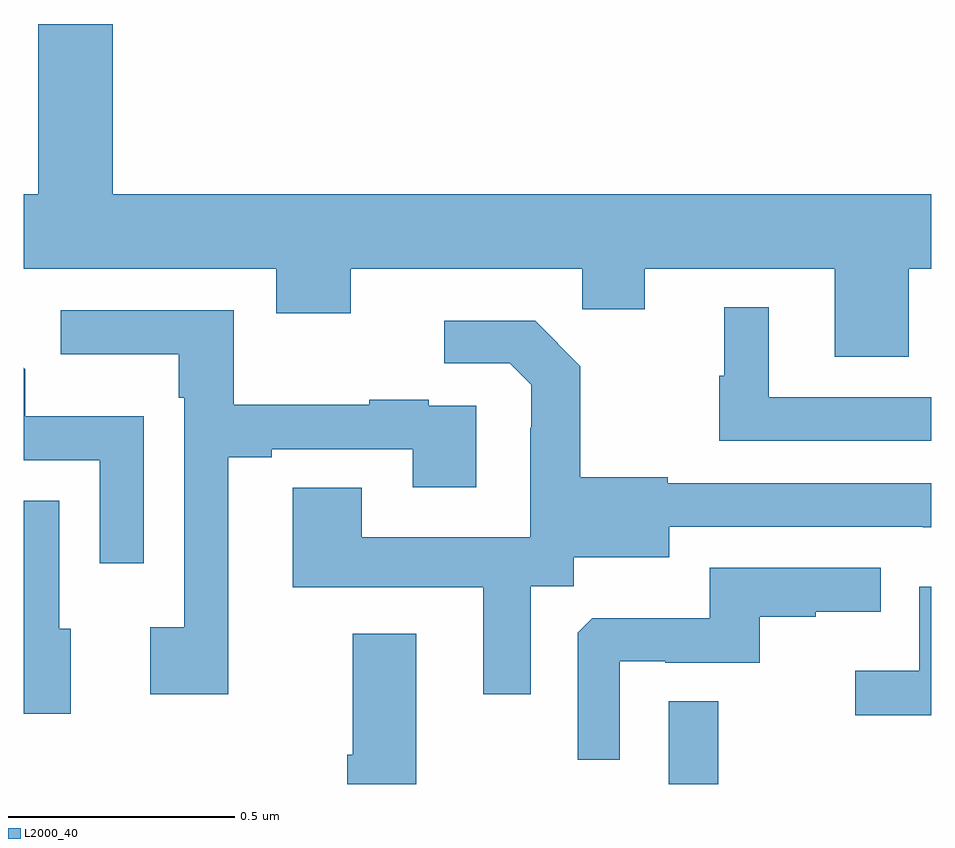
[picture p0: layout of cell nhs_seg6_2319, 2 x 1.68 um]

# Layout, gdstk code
import gdstk
lib = gdstk.Library(unit=1e-6, precision=1e-09)
def R(c, l, rs):  # rectangles x0, y0, x1, y1
    for r in rs: c.add(gdstk.rectangle(r[:2], r[2:], *l))
def P(c, l, *ps):  # polygons
    for p in ps: c.add(gdstk.Polygon(p, *l))
L2000_40 = (2000, 40)

nhs_seg6_2319 = lib.new_cell('nhs_seg6_2319')
R(nhs_seg6_2319, L2000_40, [(142.422,979.5,142.531,979.682)])
P(nhs_seg6_2319, L2000_40, [(142.951,980.636),(143,980.636),(143,980.8),(141.196,980.8),(141.196,981.175),(141.032,981.175),(141.032,980.8),(141,980.8),(141,980.636),(141.557,980.636),(141.557,980.537),(141.721,980.537),(141.721,980.636),(142.231,980.636),(142.231,980.546),(142.369,980.546),(142.369,980.636),(142.787,980.636),(142.787,980.442),(142.951,980.442)],
  [(143,980.352),(142.642,980.352),(142.642,980.551),(142.544,980.551),(142.544,980.4),(142.533,980.4),(142.533,980.256),(143,980.256)],
  [(141.451,980.22),(141.547,980.22),(141.547,980.238),(141.857,980.238),(141.857,980.154),(141.997,980.154),(141.997,980.334),(141.893,980.334),(141.893,980.347),(141.761,980.347),(141.761,980.336),(141.463,980.336),(141.463,980.544),(141.081,980.544),(141.081,980.447),(141.342,980.447),(141.342,980.351),(141.354,980.351),(141.354,979.846),(141.279,979.846),(141.279,979.698),(141.451,979.698)],
  [(142.117,979.936),(142.212,979.936),(142.212,980),(142.423,980),(142.423,980.067),(142.981,980.067),(142.981,980.066),(143,980.066),(143,980.163),(142.419,980.163),(142.419,980.176),(142.227,980.176),(142.227,980.421),(142.127,980.521),(141.927,980.521),(141.927,980.427),(142.071,980.427),(142.118,980.38),(142.118,980.285),(142.116,980.285),(142.116,980.044),(141.745,980.044),(141.745,980.153),(141.593,980.153),(141.593,979.934),(142.013,979.934),(142.013,979.698),(142.117,979.698)],
  [(141.264,980.311),(141.003,980.311),(141.003,980.414),(141,980.417),(141,980.214),(141.168,980.214),(141.168,979.986),(141.264,979.986)],
  [(141.103,979.842),(141.078,979.842),(141.078,980.124),(141,980.124),(141,979.655),(141.103,979.655)],
  [(142.314,979.77),(142.414,979.77),(142.414,979.767),(142.622,979.767),(142.622,979.869),(142.745,979.869),(142.745,979.88),(142.889,979.88),(142.889,979.977),(142.512,979.977),(142.512,979.865),(142.253,979.865),(142.221,979.833),(142.221,979.553),(142.314,979.553)],
  [(143,979.935),(142.974,979.935),(142.974,979.75),(142.833,979.75),(142.833,979.652),(143,979.652)],
  [(141.865,979.831),(141.725,979.831),(141.725,979.564),(141.713,979.564),(141.713,979.5),(141.865,979.5)])

lib.write_gds('nhs_seg6_2319.gds')
